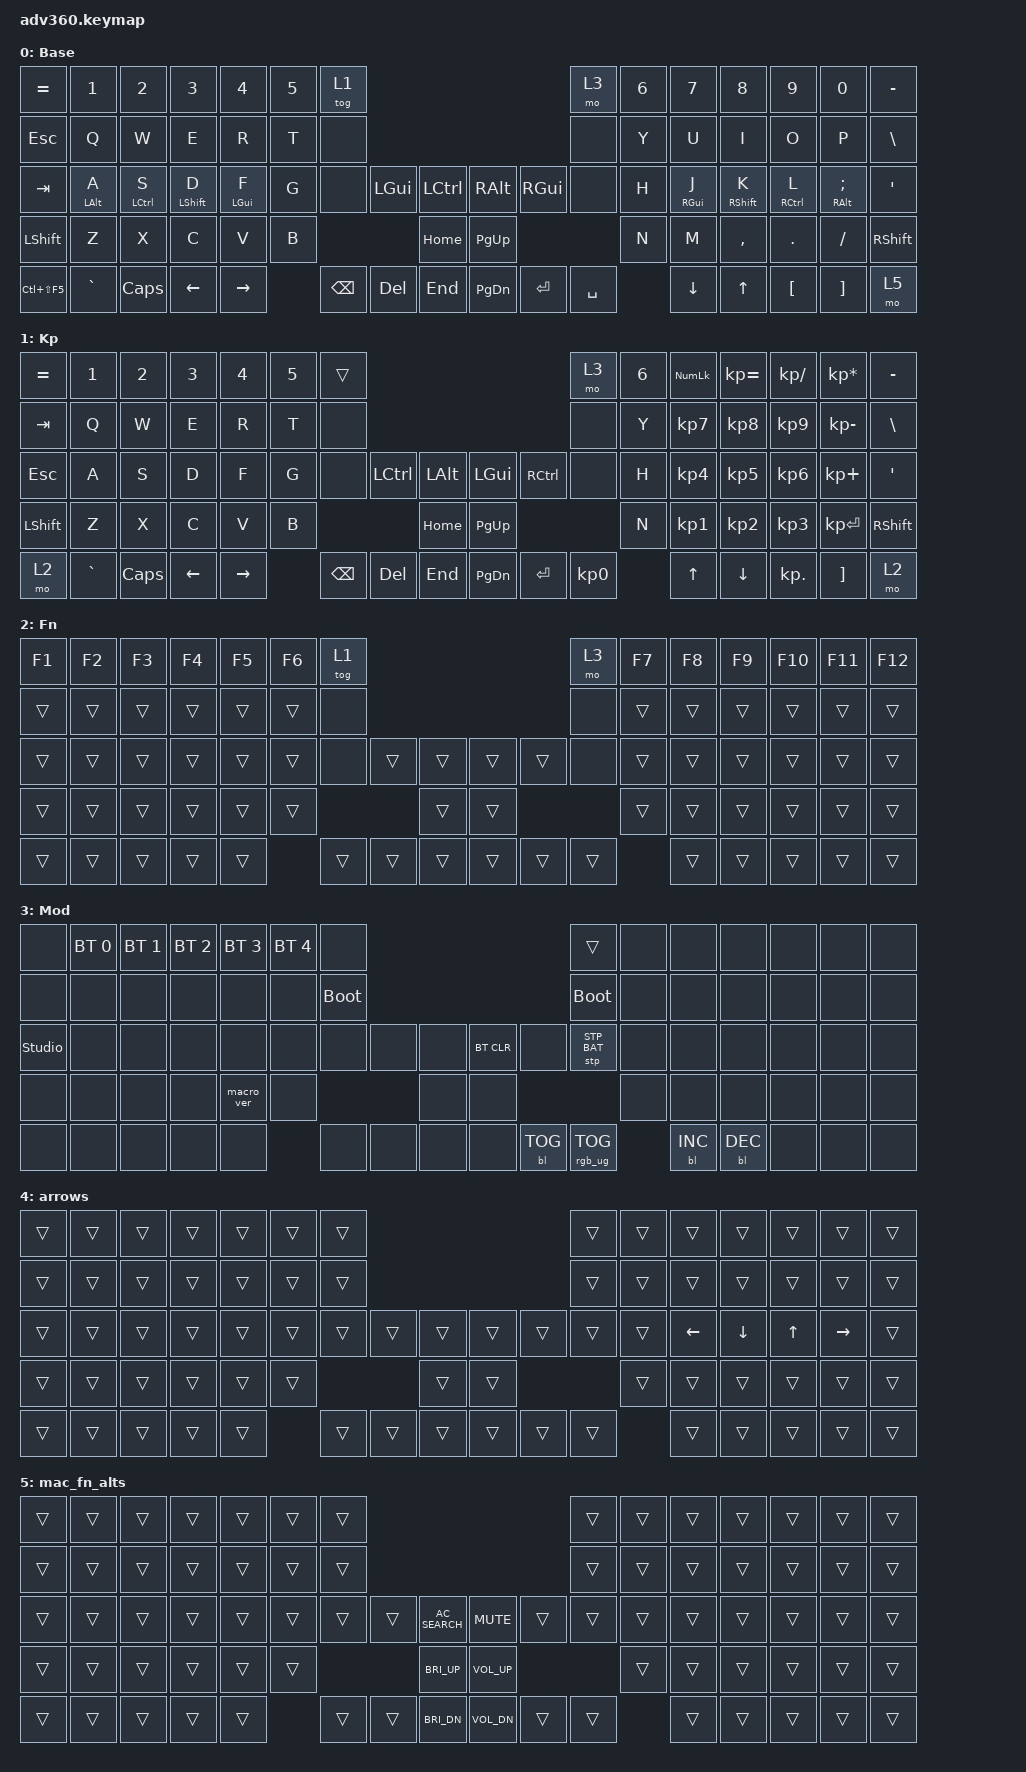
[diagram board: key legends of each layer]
#include <dt-bindings/zmk/stp.h>
#include <behaviors.dtsi>
#include <dt-bindings/zmk/backlight.h>
#include <dt-bindings/zmk/bt.h>
#include <dt-bindings/zmk/keys.h>
#include <dt-bindings/zmk/rgb.h>

/ {
    behaviors {
        #include "macros.dtsi"
      #include "version.dtsi"

        hm: homerow_mods {
            compatible = "zmk,behavior-hold-tap";
            label = "HOMEROW_MODS";
            #binding-cells = <2>;
            tapping-term-ms = <200>;
            quick_tap_ms = <175>;
            flavor = "tap-preferred";
            bindings = <&kp>, <&kp>;
        };

        hm_idle: hm_idle {
            compatible = "zmk,behavior-hold-tap";
            label = "HM_IDLE";
            #binding-cells = <2>;
            tapping-term-ms = <200>;
            quick_tap_ms = <175>;
            flavor = "tap-preferred";
            bindings = <&kp>, <&kp>;

            require-prior-idle-ms = <200>;
        };
    };

    keymap {
        compatible = "zmk,keymap";

        default_layer {
            display-name = "Base";
            bindings = <
&kp EQUAL       &kp N1      &kp N2              &kp N3        &kp N4      &kp N5  &tog 1                                                                      &mo 3      &kp N6  &kp N7      &kp N8        &kp N9               &kp N0         &kp MINUS
&kp ESC         &kp Q       &kp W               &kp E         &kp R       &kp T   &none                                                                       &none      &kp Y   &kp U       &kp I         &kp O                &kp P          &kp BSLH
&kp TAB         &hm LALT A  &hm LEFT_CONTROL S  &hm LSHIFT D  &hm LGUI F  &kp G   &none     &kp LEFT_GUI  &kp LEFT_CONTROL      &kp RIGHT_ALT  &kp RIGHT_GUI  &none      &kp H   &hm RGUI J  &hm RSHFT K   &hm RIGHT_CONTROL L  &hm RALT SEMI  &kp SQT
&kp LSHFT       &kp Z       &kp X               &kp C         &kp V       &kp B                           &kp HOME              &kp PG_UP                                &kp N   &kp M       &kp COMMA     &kp DOT              &kp FSLH       &kp RSHFT
&kp LC(LS(F5))  &kp GRAVE   &kp CAPS            &kp LEFT      &kp RIGHT           &kp BSPC  &kp DEL       &kp END               &kp PG_DN      &kp ENTER      &kp SPACE          &kp DOWN    &kp UP_ARROW  &kp LBKT             &kp RBKT       &mo 5
            >;
        };

        keypad {
            display-name = "Kp";
            bindings = <
&kp EQUAL  &kp N1     &kp N2    &kp N3    &kp N4     &kp N5  &trans                                                   &mo 3      &kp N6  &kp KP_NUM  &kp KP_EQUAL  &kp KP_DIVIDE  &kp KP_MULTIPLY  &kp MINUS
&kp TAB    &kp Q      &kp W     &kp E     &kp R      &kp T   &none                                                    &none      &kp Y   &kp KP_N7   &kp KP_N8     &kp KP_N9      &kp KP_MINUS     &kp BSLH
&kp ESC    &kp A      &kp S     &kp D     &kp F      &kp G   &none     &kp LCTRL  &kp LALT      &kp LGUI   &kp RCTRL  &none      &kp H   &kp KP_N4   &kp KP_N5     &kp KP_N6      &kp KP_PLUS      &kp SQT
&kp LSHFT  &kp Z      &kp X     &kp C     &kp V      &kp B                        &kp HOME      &kp PG_UP                        &kp N   &kp KP_N1   &kp KP_N2     &kp KP_N3      &kp KP_ENTER     &kp RSHFT
&mo 2      &kp GRAVE  &kp CAPS  &kp LEFT  &kp RIGHT          &kp BSPC  &kp DEL    &kp END       &kp PG_DN  &kp ENTER  &kp KP_N0          &kp UP      &kp DOWN      &kp KP_DOT     &kp RBKT         &mo 2
            >;
        };

        fn {
            display-name = "Fn";
            bindings = <
&kp F1  &kp F2  &kp F3  &kp F4  &kp F5  &kp F6  &tog 1                                      &mo 3   &kp F7  &kp F8  &kp F9  &kp F10  &kp F11  &kp F12
&trans  &trans  &trans  &trans  &trans  &trans  &none                                       &none   &trans  &trans  &trans  &trans   &trans   &trans
&trans  &trans  &trans  &trans  &trans  &trans  &none   &trans  &trans      &trans  &trans  &none   &trans  &trans  &trans  &trans   &trans   &trans
&trans  &trans  &trans  &trans  &trans  &trans                  &trans      &trans                  &trans  &trans  &trans  &trans   &trans   &trans
&trans  &trans  &trans  &trans  &trans          &trans  &trans  &trans      &trans  &trans  &trans          &trans  &trans  &trans   &trans   &trans
            >;
        };

        mod {
            display-name = "Mod";
            bindings = <
&none           &bt BT_SEL 0  &bt BT_SEL 1  &bt BT_SEL 2  &bt BT_SEL 3  &bt BT_SEL 4  &none                                                  &trans           &none  &none       &none       &none  &none  &none
&none           &none         &none         &none         &none         &none         &bootloader                                            &bootloader      &none  &none       &none       &none  &none  &none
&studio_unlock  &none         &none         &none         &none         &none         &none        &none  &none      &bt BT_CLR  &none       &stp STP_BAT     &none  &none       &none       &none  &none  &none
&none           &none         &none         &none         &macro_ver    &none                             &none      &none                                    &none  &none       &none       &none  &none  &none
&none           &none         &none         &none         &none                       &none        &none  &none      &none       &bl BL_TOG  &rgb_ug RGB_TOG         &bl BL_INC  &bl BL_DEC  &none  &none  &none
            >;
        };

        arrows {
            bindings = <
&trans  &trans  &trans  &trans  &trans  &trans  &trans                                      &trans  &trans  &trans          &trans          &trans        &trans           &trans
&trans  &trans  &trans  &trans  &trans  &trans  &trans                                      &trans  &trans  &trans          &trans          &trans        &trans           &trans
&trans  &trans  &trans  &trans  &trans  &trans  &trans  &trans  &trans      &trans  &trans  &trans  &trans  &kp LEFT_ARROW  &kp DOWN_ARROW  &kp UP_ARROW  &kp RIGHT_ARROW  &trans
&trans  &trans  &trans  &trans  &trans  &trans                  &trans      &trans                  &trans  &trans          &trans          &trans        &trans           &trans
&trans  &trans  &trans  &trans  &trans          &trans  &trans  &trans      &trans  &trans  &trans          &trans          &trans          &trans        &trans           &trans
            >;
        };

        mac_fn_alts {
            bindings = <
&trans  &trans  &trans  &trans  &trans  &trans  &trans                                                     &trans  &trans  &trans  &trans  &trans  &trans  &trans
&trans  &trans  &trans  &trans  &trans  &trans  &trans                                                     &trans  &trans  &trans  &trans  &trans  &trans  &trans
&trans  &trans  &trans  &trans  &trans  &trans  &trans  &trans  &kp C_AC_SEARCH      &kp K_MUTE    &trans  &trans  &trans  &trans  &trans  &trans  &trans  &trans
&trans  &trans  &trans  &trans  &trans  &trans                  &kp C_BRI_UP         &kp C_VOL_UP                  &trans  &trans  &trans  &trans  &trans  &trans
&trans  &trans  &trans  &trans  &trans          &trans  &trans  &kp C_BRI_DN         &kp C_VOL_DN  &trans  &trans          &trans  &trans  &trans  &trans  &trans
            >;
        };
    };
};
